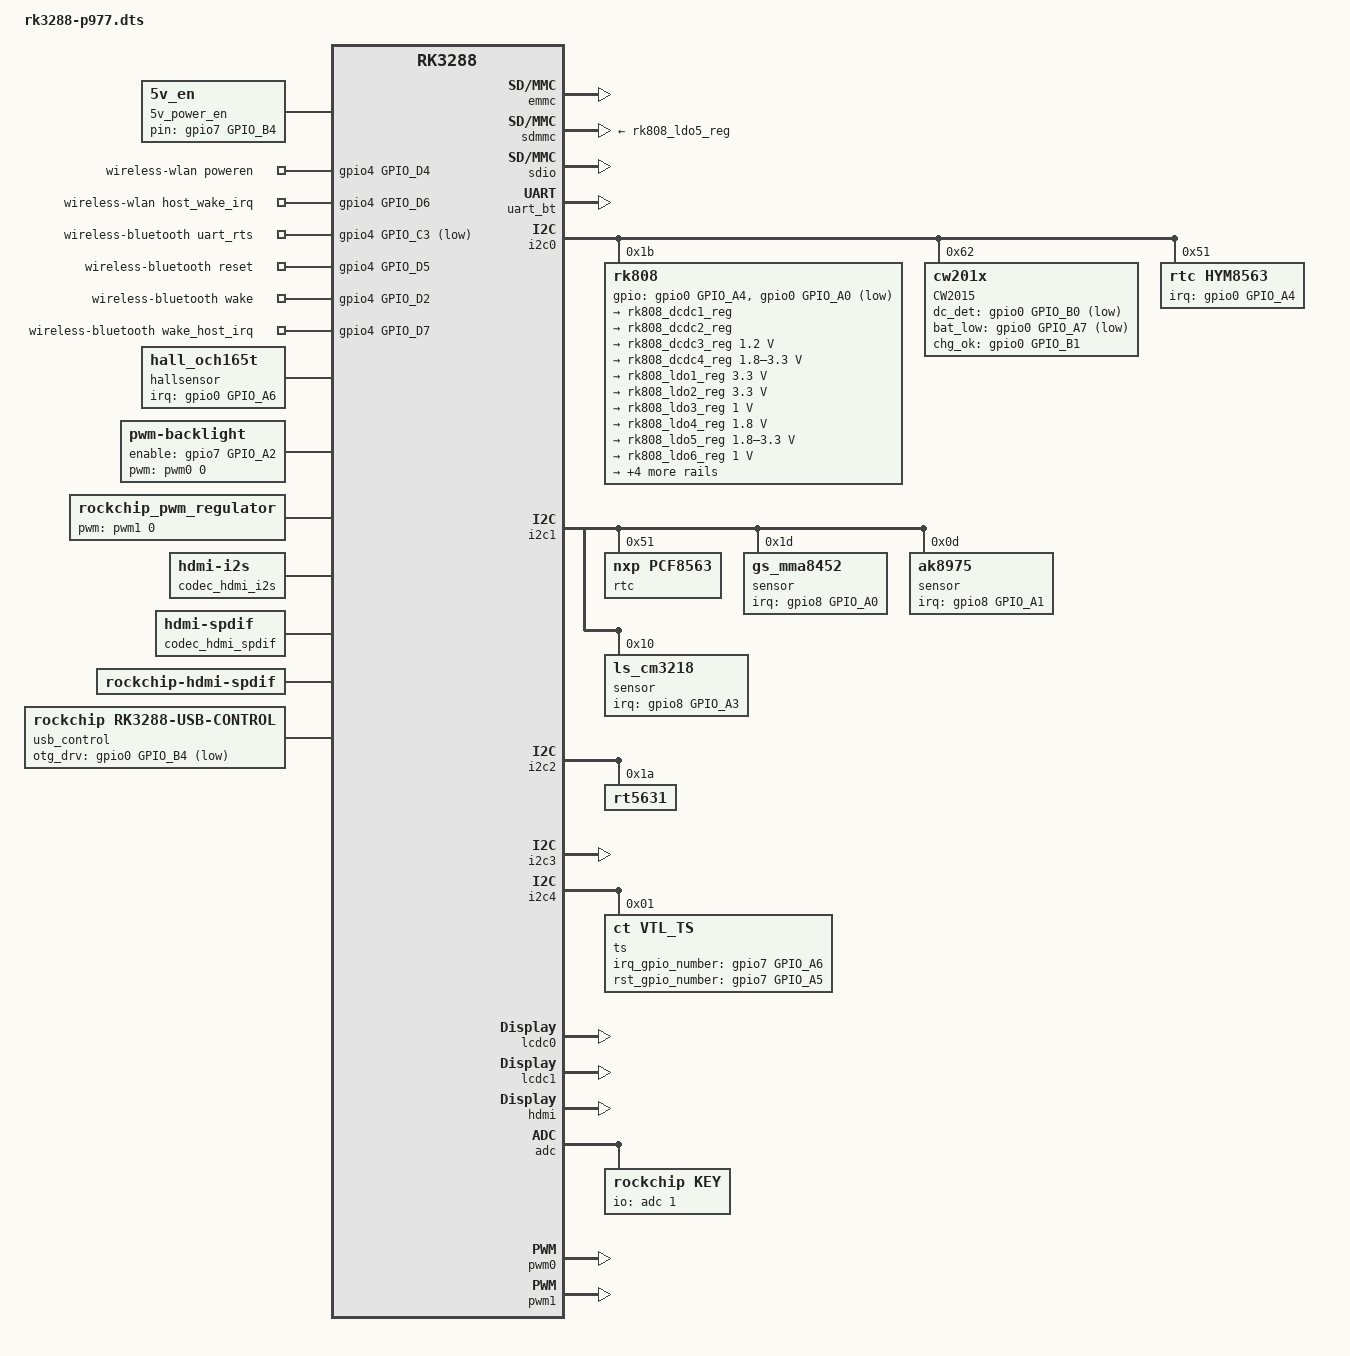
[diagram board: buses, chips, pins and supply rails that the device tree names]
/dts-v1/;

#include "rk3288.dtsi"
#include "lcd-LP097Qx1.dtsi"

/ {
	fiq-debugger {
		status = "okay";
	};

	5v_power_en {
        compatible = "5v_en";
		5ven,pin =<&gpio7 GPIO_B4 GPIO_ACTIVE_HIGH>;	// 5v power for otg and hdmi
		status = "okay";	
	};


    wireless-wlan {
        compatible = "wlan-platdata";

        wifi_chip_type = "";
        sdio_vref = <1800>; //1800mv or 3300mv

        //power_ctrl_by_pmu;
        pmu_regulator = "act_ldo3";
        pmu_enable_level = <1>; //1->HIGH, 0->LOW

        WIFI,poweren_gpio = <&gpio4 GPIO_D4 GPIO_ACTIVE_HIGH>;
        WIFI,host_wake_irq = <&gpio4 GPIO_D6 GPIO_ACTIVE_HIGH>;
        //WIFI,reset_gpio = <&gpio0 GPIO_A2 GPIO_ACTIVE_LOW>;

        status = "okay";
    };

    wireless-bluetooth {
        compatible = "bluetooth-platdata";

        uart_rts_gpios = <&gpio4 GPIO_C3 GPIO_ACTIVE_LOW>;
        pinctrl-names = "default","rts_gpio";
        pinctrl-0 = <&uart0_rts>;
        pinctrl-1 = <&uart0_rts_gpio>;

        //BT,power_gpio = <&gpio4 GPIO_D3 GPIO_ACTIVE_HIGH>;
        BT,reset_gpio = <&gpio4 GPIO_D5 GPIO_ACTIVE_HIGH>;
        BT,wake_gpio = <&gpio4 GPIO_D2 GPIO_ACTIVE_HIGH>;
        BT,wake_host_irq = <&gpio4 GPIO_D7 GPIO_ACTIVE_HIGH>;

        status = "okay";
    };

    hallsensor {
               compatible = "hall_och165t";
               type = <SENSOR_TYPE_HALL>;
               irq-gpio = <&gpio0 GPIO_A6 IRQ_TYPE_EDGE_BOTH>;
     };

	backlight {
		compatible = "pwm-backlight";
		pwms = <&pwm0 0 25000>;
		brightness-levels = <255 255 254 254 253 253 252 252 251 251 250 250 249 249 248 248 247 247 246 246 245 245 244 244 243 243 242 242 241 241 240 240
239 239 238 238 237 237 236 236 235 235 234 234 233 233 232 232 231 231 230 230 229 229 228 228 227 227 226 226 225 225
224 224 223 223 222 222 221 221 220 220 219 219 218 218 217 217 216 216 215 215 214 214 213 213 212 212 211 211 210 210
209 209 208 208 207 207 206 206 205 205 204 204 203 203 202 202 201 201 200 200 199 199 198 198 197 197 196 196 195 195
194 194 193 193 192 192 191 191 190 190 189 189 188 188 187 187 186 186 185 185 184 184 183 183 182 182 181 181 180 180
179 179 178 178 177 177 176 176 175 175 174 174 173 173 172 172 171 171 170 170 169 169 168 168 167 167 166 166 165 165 
164 164 163 163 162 162 161 161 160 160 159 159 158 158 157 157 156 156 155 155 154 154 153 153 152 152 151 151 150 150
150 150 150 150 150 150 150 150 150 150 150 150 150 150 150 150 150 150 150 150 150 150 150 150 150 150 150 150 150 150
150 150 150 150 150 150 150 150 150 150 150 150 150 150>;
		default-brightness-level = <20>;
		enable-gpios = <&gpio7 GPIO_A2 GPIO_ACTIVE_HIGH>;
	};

	pwm_regulator {
		compatible = "rockchip_pwm_regulator";
		pwms = <&pwm1 0 25000>;
		rockchip,pwm_id= <1>;
		rockchip,pwm_voltage_map= <925000 950000 975000 1000000 1025000 1050000 1075000 1100000 1125000 1150000 1175000 1200000 1225000 1250000 1275000 1300000 1325000 1350000 1375000 1400000>;
		rockchip,pwm_voltage= <1000000>;
		rockchip,pwm_min_voltage= <925000>;
		rockchip,pwm_max_voltage= <1400000>;
		rockchip,pwm_suspend_voltage= <950000>;
		rockchip,pwm_coefficient= <475>;
		regulators {
			#address-cells = <1>;
			#size-cells = <0>;
			pwm_reg0: regulator@0 {
				regulator-compatible = "pwm_dcdc1";
				regulator-name= "vdd_logic";
				regulator-min-microvolt = <925000>;
				regulator-max-microvolt = <1400000>;
				regulator-always-on;
				regulator-boot-on;
			};
		};
	};

	codec_hdmi_i2s: codec-hdmi-i2s {
		compatible = "hdmi-i2s";
	};

	codec_hdmi_spdif: codec-hdmi-spdif {
		compatible = "hdmi-spdif";
	};

	rockchip-hdmi-i2s {
		compatible = "rockchip-hdmi-i2s";
		dais {
			dai0 {
				audio-codec = <&codec_hdmi_i2s>;
				i2s-controller = <&i2s>;
				format = "i2s";
				//continuous-clock;
				//bitclock-inversion;
				//frame-inversion;
				//bitclock-master;
				//frame-master;
			};
		};
	};
	
	rockchip-hdmi-spdif {
		compatible = "rockchip-hdmi-spdif";
		dais {
			dai0 {
				audio-codec = <&codec_hdmi_spdif>;
				i2s-controller = <&spdif>;
			};
		};		
	};

	rockchip-rt5631 {
		compatible = "rockchip-rt5631";
		dais {
			dai0 {
				audio-codec = <&rt5631>;
				i2s-controller = <&i2s>;
				format = "i2s";
				//continuous-clock;
				//bitclock-inversion;
				//frame-inversion;
				//bitclock-master;
				//frame-master;
			};
		};
	};

	usb_control {
		compatible = "rockchip,rk3288-usb-control";

		otg_drv_gpio = <&gpio0 GPIO_B4 GPIO_ACTIVE_LOW>;

		rockchip,remote_wakeup;
		rockchip,usb_irq_wakeup;
	};

        chosen {
                bootargs = "vmalloc=512M";
        };
};
&pinctrl {
	gpio0_gpio {
			gpio0_c2: gpio0-c2 {
				rockchip,pins = <GPIO0_C2>;
				rockchip,pull = <VALUE_PULL_DOWN>;
			};

			//to add
		};
		
	gpio7_gpio {
			gpio7_b7: gpio7-b7 {
				rockchip,pins = <GPIO7_B7>;
				rockchip,pull = <VALUE_PULL_UP>;
			};

			//to add
		};
	//could add other pinctrl definition such as gpio

};

&emmc {
	clock-frequency = <100000000>;
	clock-freq-min-max = <400000 100000000>;

        supports-highspeed;
	supports-emmc;
        bootpart-no-access;

	supports-DDR_MODE;
	caps2-mmc-hs200;

        ignore-pm-notify;
		keep-power-in-suspend;
    	status = "okay";
};
    
&sdmmc {
	clock-frequency = <50000000>;
	clock-freq-min-max = <400000 50000000>;	            
	    
	supports-highspeed;
	supports-sd;
	broken-cd;
	card-detect-delay = <200>;

	ignore-pm-notify;
        keep-power-in-suspend;
	
        vmmc-supply = <&rk808_ldo5_reg>;
	status = "okay";
};
		
&sdio {
	clock-frequency = <50000000>;
        clock-freq-min-max = <200000 50000000>;
		
  	supports-highspeed;		
	supports-sdio;
		ignore-pm-notify;
		keep-power-in-suspend;
		//cap-sdio-irq;
		status = "okay";
};

&spi0 {
	status = "disabled";
	max-freq = <48000000>;	
	/*
	spi_test@00 {
     		compatible = "rockchip,spi_test_bus0_cs0";
                reg = <0>;
                spi-max-frequency = <24000000>;
                //spi-cpha;
		//spi-cpol;
                poll_mode = <0>;
	        type = <0>;
		enable_dma = <0>;

	};

	spi_test@01 {
	        compatible = "rockchip,spi_test_bus0_cs1";
	        reg = <1>;
	        spi-max-frequency = <24000000>;
	        spi-cpha;
		spi-cpol;
	        poll_mode = <0>;
	        type = <0>;
		enable_dma = <0>;	        
	};
	*/
};

&spi1 {
	status = "disabled";
	max-freq = <48000000>;
	/*
	spi_test@10 {
	        compatible = "rockchip,spi_test_bus1_cs0";
	        reg = <0>;
	        spi-max-frequency = <24000000>;
	        //spi-cpha;
		//spi-cpol;
	        poll_mode = <0>;
	        type = <0>;
		enable_dma = <0>;
	};

	*/
};

&spi2 {
	status = "disabled";
	max-freq = <48000000>;
	/*
	spi_test@20 {
	        compatible = "rockchip,spi_test_bus2_cs0";
	        reg = <0>;
	        spi-max-frequency = <24000000>;
	        //spi-cpha;
		//spi-cpol;
	        poll_mode = <0>;
	        type = <0>;
		enable_dma = <0>;
	};

	spi_test@21 {
	        compatible = "rockchip,spi_test_bus2_cs1";
	        reg = <1>;
	        spi-max-frequency = <24000000>;
	        //spi-cpha;
		//spi-cpol;
	        poll_mode = <0>;
	        type = <0>;
		enable_dma = <0>;
	};
	*/
};
&uart_bt {
        status = "okay";
        dma-names = "!tx", "!rx";
        pinctrl-0 = <&uart0_xfer &uart0_cts>;
};

&i2c0 {
	status = "okay";
	rk808: rk808@1b {
		reg = <0x1b>;
		status = "okay";
	};
	


	CW2015@62 {
		compatible = "cw201x";
		reg = <0x62>;
		dc_det_gpio = <&gpio0 GPIO_B0 GPIO_ACTIVE_LOW>;
		bat_low_gpio = <&gpio0 GPIO_A7 GPIO_ACTIVE_LOW>;
		chg_ok_gpio = <&gpio0 GPIO_B1 GPIO_ACTIVE_HIGH>;
		bat_config_info = <0x15 0x2A 0x58 0x57 0x51 0x5F 0x4C 0x45 0x47 0x45 0x48 0x4C 0x47 0x36
                           0x2B 0x24 0x1E 0x16 0x16 0x17 0x1D 0x28 0x3B 0x4B 0x46 0x23 0x0D 0x71
                           0x41 0x62 0x5F 0x6E 0x6F 0x6F 0x6E 0x72 0x41 0x1B 0x30 0x22 0x01 0x21
                           0x52 0x87 0x8F 0x91 0x94 0x52 0x82 0x8C 0x92 0x96 0x12 0x70 0x8F 0xCB
                           0x2F 0x7D 0x72 0xA5 0xB5 0xC1 0x1F 0x21>;
		is_dc_charge = <1>;
		is_usb_charge = <0>;
	};
	
	rtc@51 {
		compatible = "rtc,hym8563";
		reg = <0x51>;
		irq_gpio = <&gpio0 GPIO_A4 IRQ_TYPE_EDGE_FALLING>;
	};
};

&i2c1 {
	status = "okay";
	rtc@51 {
		compatible = "nxp,pcf8563";
		reg = <0x51>;
	};
	
	sensor@1d {
		compatible = "gs_mma8452";
		reg = <0x1d>;
		type = <SENSOR_TYPE_ACCEL>;
		irq-gpio = <&gpio8 GPIO_A0 IRQ_TYPE_LEVEL_LOW>;
		irq_enable = <1>;
		poll_delay_ms = <30>;
		layout = <8>;
	};

	sensor@0d {
		compatible = "ak8975";
		reg = <0x0d>;
		type = <SENSOR_TYPE_COMPASS>;
		irq-gpio = <&gpio8 GPIO_A1 IRQ_TYPE_EDGE_RISING>;
		irq_enable = <1>;
		poll_delay_ms = <30>;
		layout = <1>;
	};

	sensor@10 {
              compatible = "ls_cm3218";
              reg = <0x10>;
              type = <SENSOR_TYPE_LIGHT>;
              irq-gpio = <&gpio8 GPIO_A3 IRQ_TYPE_EDGE_FALLING>;              
              irq_enable = <1>;
              poll_delay_ms = <30>;
              layout = <1>;
       };
/*	      
 	mpu6050:mpu@68{
	compatible = "mpu6050";
	reg = <0x68>;
	mpu-int_config = <0x10>;
	mpu-level_shifter = <0>;
	mpu-orientation = <1 0 0 0 1 0 0 0 1>;	
	orientation-x= <1>;
	orientation-y= <0>;
	orientation-z= <1>;
	irq-gpio = <&gpio8 GPIO_A0 IRQ_TYPE_LEVEL_LOW>;			
	mpu-debug = <0>;
	};

	ak8963:compass@0d{
	compatible = "ak8963";
	reg = <0x0d>;
	compass-bus = <0>;
	compass-adapt_num = <0>;
	compass-orientation = <1 0 0 0 1 0 0 0 1>;
	orientation-x= <0>;
	orientation-y= <0>;
	orientation-z= <1>;	
	compass-debug = <1>;
	status = "disabled";
	};

	ak8975:compass@0d{
	compatible = "ak8975";
	reg = <0x0d>;
	compass-bus = <0>;
	compass-adapt_num = <0>;
	compass-orientation = <0 1 0 1 0 0 0 0 1>;
	orientation-x= <0>;
	orientation-y= <0>;
	orientation-z= <0>;	
	compass-debug = <0>;
	};
*/
};

&i2c2 {
	status = "okay";

	rt5631: rt5631@1a {
		compatible = "rt5631";
		reg = <0x1a>;
		phone_det_level = <1>;
	};
	
};

&i2c3 {
	status = "okay";
};

&i2c4 {
	status = "okay";
	ts@01 {
		compatible = "ct,vtl_ts";
		reg = <0x01>;
		screen_max_x = <2048>;
		screen_max_y = <1536>;
		irq_gpio_number = <&gpio7 GPIO_A6 IRQ_TYPE_LEVEL_LOW>;
		rst_gpio_number = <&gpio7 GPIO_A5 GPIO_ACTIVE_HIGH>;
	};
};

&i2c5 {
	status = "disable";
};

&fb {
	rockchip,disp-mode = <DUAL>;
	rockchip,uboot-logo-on = <1>;
};

&rk_screen {
	 display-timings = <&disp_timings>;
};

/*lcdc0 as PRMRY(LCD),lcdc1 as EXTEND(HDMI)*/
&lcdc0 {
	status = "okay";
	rockchip,mirror = <NO_MIRROR>;
	rockchip,cabc_mode = <0>;
	rockchip,iommu-enabled = <0>;
	power_ctr: power_ctr {
		rockchip,debug = <0>;
		/*
		lcd_en:lcd_en {
			rockchip,power_type = <GPIO>;
			gpios = <&gpio7 GPIO_A3 GPIO_ACTIVE_HIGH>;
			rockchip,delay = <10>;
		};
		*/
		/*lcd_cs:lcd_cs {
			rockchip,power_type = <REGULATOR>;
			rockchip,delay = <10>;
		};

		lcd_rst:lcd_rst {
			rockchip,power_type = <GPIO>;
			gpios = <&gpio3 GPIO_D6 GPIO_ACTIVE_HIGH>;
			rockchip,delay = <5>;
		};*/

	};
};

&lcdc1 {
	status = "okay";
	rockchip,mirror = <NO_MIRROR>;
	rockchip,iommu-enabled = <0>;
};

&hdmi {
	status = "okay";
	rockchips,hdmi_audio_source = <0>;
};

&adc {
	status = "okay";


	key {
		compatible = "rockchip,key";
		io-channels = <&adc 1>;

		vol-up-key {
			linux,code = <115>;
			label = "volume up";
			rockchip,adc_value = <1>;
		};

		vol-down-key {
			linux,code = <114>;
			label = "volume down";
			rockchip,adc_value = <170>;
		};

		power-key {
			gpios = <&gpio0 GPIO_A5 GPIO_ACTIVE_LOW>;
			linux,code = <116>;
			label = "power";
			gpio-key,wakeup;
		};

		back-key {
			linux,code = <158>;
			label = "back";
			rockchip,adc_value = <355>;
		};
/*
		home-key {
			linux,code = <102>;
			label = "home";
			rockchip,adc_value = <746>;
		};

		back-key {
			linux,code = <158>;
			label = "back";
			rockchip,adc_value = <560>;
		};
*/
		camera-key {
			linux,code = <212>;
			label = "camera";
			rockchip,adc_value = <450>;
		};
	};
};

&pwm0 {
        status = "okay";
};

&pwm1 {
	status = "okay";
};


&clk_core_dvfs_table {
	operating-points = <
		/* KHz    uV */
		126000 850000
		216000 850000
		312000 850000
		408000 850000
		600000 850000
		696000 900000
		816000 950000
		1008000 1000000
		1200000 1050000
		1416000 1150000
		1512000 1200000
		1608000 1250000
		1704000 1300000
		1800000 1350000
		>;
	status="okay";
};

&clk_gpu_dvfs_table {
	operating-points = <
		/* KHz    uV */
		100000 850000
		200000 850000
		300000 900000
		400000 1000000
		500000 1100000
	//	600000 1250000
		>;
	status="okay";
};

&clk_ddr_dvfs_table {
	operating-points = <
		/* KHz    uV */
		200000 1050000
		300000 1050000
		420000 1050000
		533000 1050000
		>;

	freq-table = <
		/*status		freq(KHz)*/
		SYS_STATUS_NORMAL	400000
		SYS_STATUS_SUSPEND	200000
		SYS_STATUS_VIDEO_1080P  240000
		SYS_STATUS_VIDEO_4K     400000
		SYS_STATUS_PERFORMANCE  528000
		SYS_STATUS_DUALVIEW	400000
		SYS_STATUS_BOOST	324000
		SYS_STATUS_ISP		533000
		>;
	auto-freq-table = <
		240000
		324000
		396000
		528000
		>;
	auto-freq=<1>;
	status="okay";
};

/include/ "rk808.dtsi"
&rk808 {
	gpios =<&gpio0 GPIO_A4 GPIO_ACTIVE_HIGH>,<&gpio0 GPIO_A0 GPIO_ACTIVE_LOW>;
	rk808,system-power-controller;

	regulators {
		
		rk808_dcdc1_reg: regulator@0{
			regulator-name= "vdd_arm";
			regulator-always-on;
			regulator-boot-on;
		};

		rk808_dcdc2_reg: regulator@1 {
			regulator-name= "vdd_gpu";
			regulator-always-on;
			regulator-boot-on;
		};

		rk808_dcdc3_reg: regulator@2 {
			regulator-name= "rk_dcdc3";
			regulator-min-microvolt = <1200000>;
			regulator-max-microvolt = <1200000>;
			regulator-always-on;
			regulator-boot-on;
		};

		rk808_dcdc4_reg: regulator@3 {
			regulator-name= "vccio";
			regulator-min-microvolt = <1800000>;
			regulator-max-microvolt = <3300000>;
			regulator-always-on;
			regulator-boot-on;
		};

		rk808_ldo1_reg: regulator@4 {
			regulator-name= "rk_ldo1";
			regulator-min-microvolt = <3300000>;
			regulator-max-microvolt = <3300000>;
			regulator-always-on;
			regulator-boot-on;
		};

		rk808_ldo2_reg: regulator@5 {
			regulator-name= "rk_ldo2";
			regulator-min-microvolt = <3300000>;
			regulator-max-microvolt = <3300000>;
			regulator-always-on;
			regulator-boot-on;
		};

		rk808_ldo3_reg: regulator@6 {
			regulator-name= "rk_ldo3";
			regulator-min-microvolt = <1000000>;
			regulator-max-microvolt = <1000000>;
			regulator-always-on;
			regulator-boot-on;
		};

		rk808_ldo4_reg:regulator@7 {
			regulator-name= "rk_ldo4";
			regulator-min-microvolt = <1800000>;
			regulator-max-microvolt = <1800000>;
			regulator-always-on;
			regulator-boot-on;
		};

		rk808_ldo5_reg: regulator@8 {
			regulator-name= "vcc_sd";
			regulator-min-microvolt = <1800000>;
			regulator-max-microvolt = <3300000>;
			regulator-always-on;
			regulator-boot-on;
		};

		rk808_ldo6_reg: regulator@9 {
			regulator-name= "rk_ldo6";
			regulator-min-microvolt = <1000000>;
			regulator-max-microvolt = <1000000>;
			regulator-always-on;
			regulator-boot-on;
		};

		rk808_ldo7_reg: regulator@10 {
			regulator-name= "rk_ldo7";
			regulator-min-microvolt = <1800000>;
			regulator-max-microvolt = <1800000>;
			regulator-always-on;
			regulator-boot-on;
		};

		rk808_ldo8_reg: regulator@11 {
			regulator-name= "rk_ldo8";
			regulator-min-microvolt = <3300000>;
			regulator-max-microvolt = <3300000>;
			regulator-always-on;
			regulator-boot-on;
		};

		rk808_ldo9_reg: regulator@12 {
			regulator-name= "rk_ldo9";
			regulator-always-on;
			regulator-boot-on;
		};

		rk808_ldo10_reg: regulator@13 {
			regulator-name= "rk_ldo10";
			regulator-always-on;
			regulator-boot-on;
		};
	};
};

&lcdc_vdd_domain {
	regulator-name = "vcc30_lcd";
	};
&dpio_vdd_domain{
	regulator-name = "vcc18_cif";	
	};
&flash0_vdd_domain{
	regulator-name = "vcc_flash";	
	};
&flash1_vdd_domain{
	regulator-name = "vcc_flash";			
	};
&apio3_vdd_domain{
	regulator-name = "vccio_wl";		
	};
&apio5_vdd_domain{
	regulator-name = "vccio";		
	};
&apio4_vdd_domain{
	regulator-name = "vccio";		
	};
&apio1_vdd_domain{
	regulator-name = "vccio";			
	};
&apio2_vdd_domain{
	regulator-name = "vccio";		
	};
&sdmmc0_vdd_domain{
	regulator-name = "vcc_sd";			
	};
&ion_cma {
	reg = <0x40000000 0x20000000>; /* 512MB */
};
